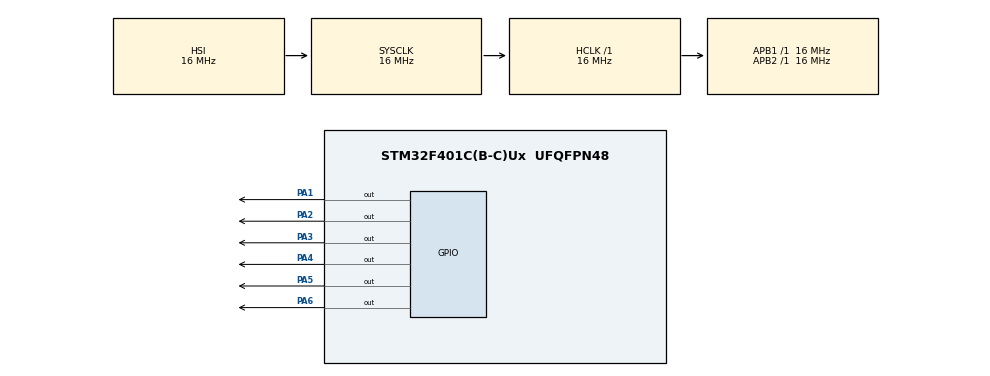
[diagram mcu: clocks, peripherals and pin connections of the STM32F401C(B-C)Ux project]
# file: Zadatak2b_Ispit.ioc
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FREERTOS.Tasks01=defaultTask,24,128,StartDefaultTask,Default,NULL,Dynamic,NULL,NULL
FREERTOS.configUSE_NEWLIB_REENTRANT=1
Mcu.Family=STM32F4
Mcu.Name=STM32F401C(B-C)Ux
Mcu.Package=UFQFPN48
NVIC.PriorityGroup=NVIC_PRIORITYGROUP_4
NVIC.TIM1_UP_TIM10_IRQn=true\:15\:0\:false\:false\:true\:false\:false\:true\:true
NVIC.TimeBase=TIM1_UP_TIM10_IRQn
NVIC.TimeBaseIP=TIM1
PA1.Signal=GPIO_Output
PA13.Mode=Serial_Wire
PA13.Signal=SYS_JTMS-SWDIO
PA14.Mode=Serial_Wire
PA14.Signal=SYS_JTCK-SWCLK
PA2.Signal=GPIO_Output
PA3.Signal=GPIO_Output
PA4.Signal=GPIO_Output
PA5.Signal=GPIO_Output
PA6.Signal=GPIO_Output
ProjectManager.HeapSize=0x200
ProjectManager.StackSize=0x400
ProjectManager.TargetToolchain=STM32CubeIDE
RCC.AHBFreq_Value=16000000
RCC.APB1Freq_Value=16000000
RCC.APB2Freq_Value=16000000
RCC.CortexFreq_Value=16000000
RCC.HSE_VALUE=25000000
RCC.HSI_VALUE=16000000
RCC.LSE_VALUE=32768
RCC.SYSCLKFreq_VALUE=16000000
RCC.VCOOutputFreq_Value=192000000
VP_FREERTOS_VS_CMSIS_V2.Mode=CMSIS_V2
VP_SYS_VS_tim1.Mode=TIM1
board=custom

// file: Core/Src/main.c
/* USER CODE BEGIN Header */
/**
  ******************************************************************************
  * @file           : main.c
  * @brief          : Main program body
  ******************************************************************************
  * @attention
  *
  * Copyright (c) 2026 STMicroelectronics.
  * All rights reserved.
  *
  * This software is licensed under terms that can be found in the LICENSE file
  * in the root directory of this software component.
  * If no LICENSE file comes with this software, it is provided AS-IS.
  *
  ******************************************************************************
  */
/* USER CODE END Header */
#include "main.h"
#include "cmsis_os.h"

/* USER CODE BEGIN Includes */
#include "FreeRTOS.h"
#include "task.h"
#include "semphr.h"
#include "stm32f4xx_hal.h"
/* USER CODE END Includes */

/* Definitions for defaultTask */
osThreadId_t defaultTaskHandle;
const osThreadAttr_t defaultTask_attributes = {
  .name = "defaultTask",
  .stack_size = 128 * 4,
  .priority = (osPriority_t) osPriorityNormal,
};
/* USER CODE BEGIN PV */

TaskHandle_t zadatak1handler;
TaskHandle_t zadatak2handler;

SemaphoreHandle_t mutexHandler;

/* USER CODE END PV */

void SystemClock_Config(void);
static void MX_GPIO_Init(void);
void StartDefaultTask(void *argument);

/* USER CODE BEGIN PFP */

void zadatak1(void *nekiParam);
void zadatak2(void *nekiParam);

/* USER CODE END PFP */

int main(void)
{

  /* MCU Configuration--------------------------------------------------------*/

  /* Reset of all peripherals, Initializes the Flash interface and the Systick. */
  HAL_Init();

  /* Configure the system clock */
  SystemClock_Config();

  /* Initialize all configured peripherals */
  MX_GPIO_Init();

  /* Init scheduler */
  osKernelInitialize();

  /* USER CODE BEGIN RTOS_MUTEX */
  /* add mutexes, ... */

  mutexHandler=xSemaphoreCreateMutex();
  xSemaphoreGive(mutexHandler);

  /* USER CODE END RTOS_MUTEX */

  /* Create the thread(s) */
  /* creation of defaultTask */
  defaultTaskHandle = osThreadNew(StartDefaultTask, NULL, &defaultTask_attributes);

  /* USER CODE BEGIN RTOS_THREADS */
  /* add threads, ... */

  xTaskCreate(zadatak1, "Zadatak1", 256, NULL, 1, &zadatak1handler);
  xTaskCreate(zadatak2, "Zadatak2", 256, NULL, 1, &zadatak2handler);

  /* USER CODE END RTOS_THREADS */

  /* Start scheduler */
  osKernelStart();

  /* We should never get here as control is now taken by the scheduler */

  /* Infinite loop */
  while (1)
  {

  }
}

void SystemClock_Config(void)
{
  RCC_OscInitTypeDef RCC_OscInitStruct = {0};
  RCC_ClkInitTypeDef RCC_ClkInitStruct = {0};

  /** Configure the main internal regulator output voltage
  */
  __HAL_RCC_PWR_CLK_ENABLE();
  __HAL_PWR_VOLTAGESCALING_CONFIG(PWR_REGULATOR_VOLTAGE_SCALE2);

  /** Initializes the RCC Oscillators according to the specified parameters
  * in the RCC_OscInitTypeDef structure.
  */
  RCC_OscInitStruct.OscillatorType = RCC_OSCILLATORTYPE_HSI;
  RCC_OscInitStruct.HSIState = RCC_HSI_ON;
  RCC_OscInitStruct.HSICalibrationValue = RCC_HSICALIBRATION_DEFAULT;
  RCC_OscInitStruct.PLL.PLLState = RCC_PLL_NONE;
  if (HAL_RCC_OscConfig(&RCC_OscInitStruct) != HAL_OK)
  {
    Error_Handler();
  }

  /** Initializes the CPU, AHB and APB buses clocks
  */
  RCC_ClkInitStruct.ClockType = RCC_CLOCKTYPE_HCLK|RCC_CLOCKTYPE_SYSCLK
                              |RCC_CLOCKTYPE_PCLK1|RCC_CLOCKTYPE_PCLK2;
  RCC_ClkInitStruct.SYSCLKSource = RCC_SYSCLKSOURCE_HSI;
  RCC_ClkInitStruct.AHBCLKDivider = RCC_SYSCLK_DIV1;
  RCC_ClkInitStruct.APB1CLKDivider = RCC_HCLK_DIV1;
  RCC_ClkInitStruct.APB2CLKDivider = RCC_HCLK_DIV1;

  if (HAL_RCC_ClockConfig(&RCC_ClkInitStruct, FLASH_LATENCY_0) != HAL_OK)
  {
    Error_Handler();
  }
}

static void MX_GPIO_Init(void)
{
  GPIO_InitTypeDef GPIO_InitStruct = {0};

  /* GPIO Ports Clock Enable */
  __HAL_RCC_GPIOA_CLK_ENABLE();

  /*Configure GPIO pin Output Level */
  HAL_GPIO_WritePin(GPIOA, GPIO_PIN_1|GPIO_PIN_2|GPIO_PIN_3|GPIO_PIN_4
                          |GPIO_PIN_5|GPIO_PIN_6, GPIO_PIN_RESET);

  /*Configure GPIO pins : PA1 PA2 PA3 PA4
                           PA5 PA6 */
  GPIO_InitStruct.Pin = GPIO_PIN_1|GPIO_PIN_2|GPIO_PIN_3|GPIO_PIN_4
                          |GPIO_PIN_5|GPIO_PIN_6;
  GPIO_InitStruct.Mode = GPIO_MODE_OUTPUT_PP;
  GPIO_InitStruct.Pull = GPIO_NOPULL;
  GPIO_InitStruct.Speed = GPIO_SPEED_FREQ_LOW;
  HAL_GPIO_Init(GPIOA, &GPIO_InitStruct);

}

/* USER CODE BEGIN 4 */

void zadatak1(void *nekiParam)
{
    for(;;)
    {
    	 if(xSemaphoreTake(mutexHandler, portMAX_DELAY)==pdTRUE)
    	 {
    		HAL_GPIO_WritePin(GPIOA, GPIO_PIN_6, GPIO_PIN_SET);
    		vTaskDelay(pdMS_TO_TICKS(100));
    		HAL_GPIO_WritePin(GPIOA, GPIO_PIN_6, GPIO_PIN_RESET);
    		vTaskDelay(pdMS_TO_TICKS(100));                                   /*Pauza dok je ugašena*/

    		xSemaphoreGive(mutexHandler);
    		vTaskDelay(pdMS_TO_TICKS(10));
    	 }
    }
}

void zadatak2(void *nekiParam)
{
    for(;;)
    {
    	 if(xSemaphoreTake(mutexHandler, portMAX_DELAY)==pdTRUE)
    	 {
    		HAL_GPIO_WritePin(GPIOA, GPIO_PIN_6, GPIO_PIN_SET);
    		vTaskDelay(pdMS_TO_TICKS(500));
    		HAL_GPIO_WritePin(GPIOA, GPIO_PIN_6, GPIO_PIN_RESET);
    		vTaskDelay(pdMS_TO_TICKS(500));                                /*Pauza dok je ugašena*/

    		xSemaphoreGive(mutexHandler);
       	    vTaskDelay(pdMS_TO_TICKS(10));
    	 }
    }
}

/* USER CODE END 4 */

void StartDefaultTask(void *argument)
{
  for(;;)
  {
    osDelay(1);
  }
}

void HAL_TIM_PeriodElapsedCallback(TIM_HandleTypeDef *htim)
{
  if (htim->Instance == TIM1)
  {
    HAL_IncTick();
  }
}

void Error_Handler(void)
{
  __disable_irq();
  while (1)
  {
  }
}
